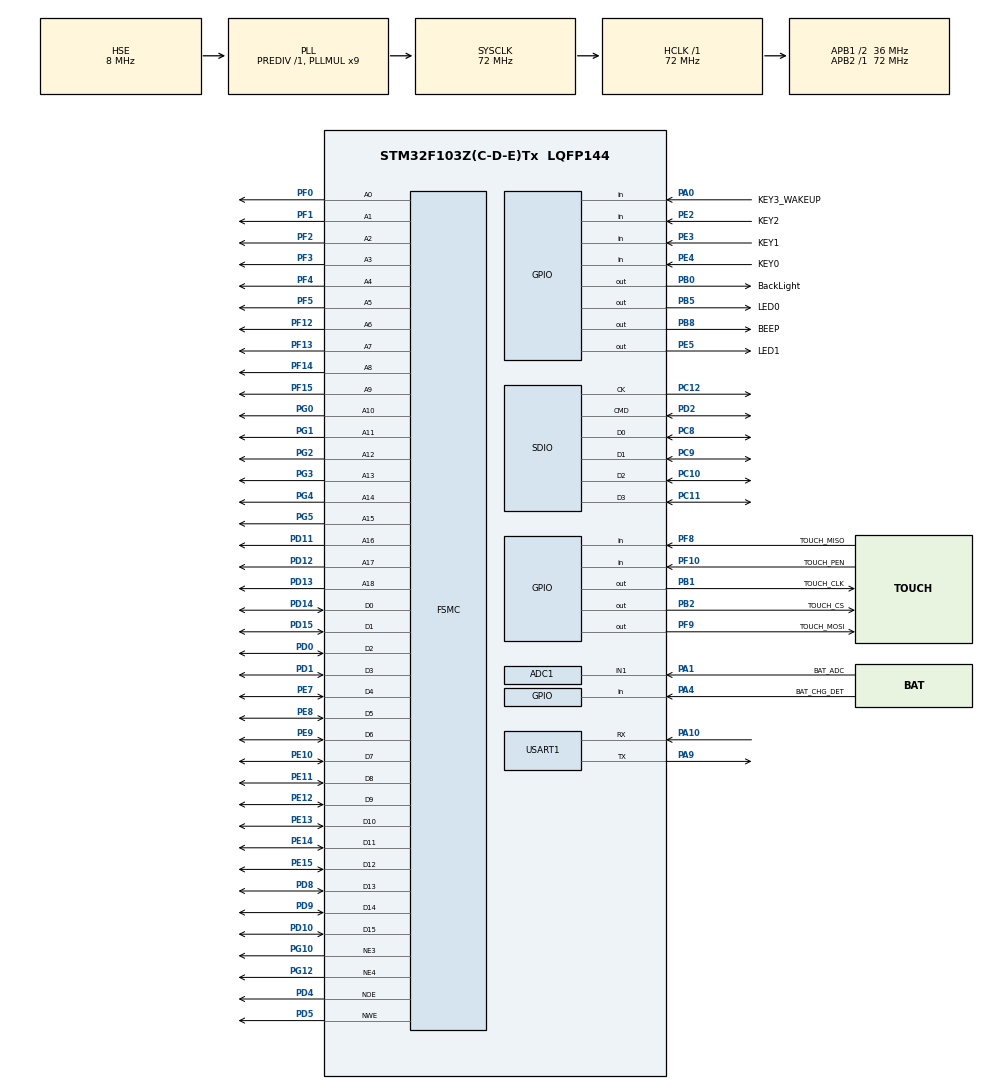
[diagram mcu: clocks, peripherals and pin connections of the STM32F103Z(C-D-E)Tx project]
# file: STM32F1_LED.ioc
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ADC1.Channel-0\#ChannelRegularConversion=ADC_CHANNEL_1
ADC1.ContinuousConvMode=DISABLE
ADC1.NbrOfConversion=1
ADC1.NbrOfConversionFlag=1
ADC1.Rank-0\#ChannelRegularConversion=1
ADC1.SamplingTime-0\#ChannelRegularConversion=ADC_SAMPLETIME_1CYCLE_5
ADC1.master=1
FATFS._CODE_PAGE=1252
FATFS._FS_LOCK=0
FATFS._FS_NORTC=0
FATFS._LFN_UNICODE=0
FATFS._NORTC_MDAY=23
FATFS._NORTC_MON=4
FATFS._NORTC_YEAR=2023
FATFS._USE_FASTSEEK=1
FATFS._USE_LABEL=0
FATFS._USE_LFN=3
FATFS._USE_STRFUNC=2
FSMC.AddressSetupTime1=1
FSMC.AddressSetupTime2=0
FSMC.BusTurnAroundDuration1=0
FSMC.BusTurnAroundDuration2=0
FSMC.DataSetupTime1=15
FSMC.DataSetupTime2=3
FSMC.ExtendedAddressSetupTime1=0
FSMC.ExtendedBusTurnAroundDuration1=0
FSMC.ExtendedDataSetupTime1=4
FSMC.ExtendedMode1=FSMC_EXTENDED_MODE_ENABLE
FSMC.ExtendedMode2=FSMC_EXTENDED_MODE_DISABLE
FSMC.WriteOperation2=FSMC_WRITE_OPERATION_ENABLE
Mcu.Family=STM32F1
Mcu.Name=STM32F103Z(C-D-E)Tx
Mcu.Package=LQFP144
NVIC.PriorityGroup=NVIC_PRIORITYGROUP_4
NVIC.TIM3_IRQn=true\:12\:0\:true\:false\:true\:true\:true\:true
NVIC.TIM4_IRQn=true\:14\:0\:true\:false\:true\:true\:true\:true
OSC_IN.Mode=HSE-External-Oscillator
OSC_IN.Signal=RCC_OSC_IN
OSC_OUT.Mode=HSE-External-Oscillator
OSC_OUT.Signal=RCC_OSC_OUT
PA0-WKUP.GPIO_Label=KEY3_WAKEUP
PA0-WKUP.GPIO_PuPd=GPIO_PULLDOWN
PA0-WKUP.Signal=GPIO_Input
PA1.GPIO_Label=BAT_ADC
PA1.Signal=ADCx_IN1
PA10.Mode=Asynchronous
PA10.Signal=USART1_RX
PA13.Mode=Serial_Wire
PA13.Signal=SYS_JTMS-SWDIO
PA14.Mode=Serial_Wire
PA14.Signal=SYS_JTCK-SWCLK
PA4.GPIO_Label=BAT_CHG_DET
PA4.GPIO_PuPd=GPIO_PULLUP
PA4.Signal=GPIO_Input
PA9.Mode=Asynchronous
PA9.Signal=USART1_TX
PB0.GPIO_Label=BackLight
PB0.Signal=GPIO_Output
PB1.GPIO_Label=TOUCH_CLK
PB1.GPIO_Speed=GPIO_SPEED_FREQ_HIGH
PB1.Signal=GPIO_Output
PB2.GPIO_Label=TOUCH_CS
PB2.GPIO_Speed=GPIO_SPEED_FREQ_HIGH
PB2.PinState=GPIO_PIN_SET
PB2.Signal=GPIO_Output
PB5.GPIO_Label=LED0
PB5.PinState=GPIO_PIN_SET
PB5.Signal=GPIO_Output
PB8.GPIO_Label=BEEP
PB8.Signal=GPIO_Output
PC10.Mode=SD_4_bits_Wide_bus
PC10.Signal=SDIO_D2
PC11.Mode=SD_4_bits_Wide_bus
PC11.Signal=SDIO_D3
PC12.Mode=SD_4_bits_Wide_bus
PC12.Signal=SDIO_CK
PC14-OSC32_IN.Mode=LSE-External-Oscillator
PC14-OSC32_IN.Signal=RCC_OSC32_IN
PC15-OSC32_OUT.Mode=LSE-External-Oscillator
PC15-OSC32_OUT.Signal=RCC_OSC32_OUT
PC8.Mode=SD_4_bits_Wide_bus
PC8.Signal=SDIO_D0
PC9.Mode=SD_4_bits_Wide_bus
PC9.Signal=SDIO_D1
PD0.Signal=FSMC_D2_DA2
PD1.Signal=FSMC_D3_DA3
PD10.Signal=FSMC_D15_DA15
PD11.Signal=FSMC_A16_CLE
PD12.Signal=FSMC_A17_ALE
PD13.Signal=FSMC_A18
PD14.Signal=FSMC_D0_DA0
PD15.Signal=FSMC_D1_DA1
PD2.Mode=SD_4_bits_Wide_bus
PD2.Signal=SDIO_CMD
PD4.Signal=FSMC_NOE
PD5.Signal=FSMC_NWE
PD8.Signal=FSMC_D13_DA13
PD9.Signal=FSMC_D14_DA14
PE0.Signal=FSMC_NBL0
PE1.Signal=FSMC_NBL1
PE10.Signal=FSMC_D7_DA7
PE11.Signal=FSMC_D8_DA8
PE12.Signal=FSMC_D9_DA9
PE13.Signal=FSMC_D10_DA10
PE14.Signal=FSMC_D11_DA11
PE15.Signal=FSMC_D12_DA12
PE2.GPIO_Label=KEY2
PE2.GPIO_PuPd=GPIO_PULLUP
PE2.Signal=GPIO_Input
PE3.GPIO_Label=KEY1
PE3.GPIO_PuPd=GPIO_PULLUP
PE3.Signal=GPIO_Input
PE4.GPIO_Label=KEY0
PE4.GPIO_PuPd=GPIO_PULLUP
PE4.Signal=GPIO_Input
PE5.GPIO_Label=LED1
PE5.PinState=GPIO_PIN_SET
PE5.Signal=GPIO_Output
PE7.Signal=FSMC_D4_DA4
PE8.Signal=FSMC_D5_DA5
PE9.Signal=FSMC_D6_DA6
PF0.Signal=FSMC_A0
PF1.Signal=FSMC_A1
PF10.GPIO_Label=TOUCH_PEN
PF10.GPIO_PuPd=GPIO_PULLUP
PF10.Signal=GPIO_Input
PF12.Signal=FSMC_A6
PF13.Signal=FSMC_A7
PF14.Signal=FSMC_A8
PF15.Signal=FSMC_A9
PF2.Signal=FSMC_A2
PF3.Signal=FSMC_A3
PF4.Signal=FSMC_A4
PF5.Signal=FSMC_A5
PF8.GPIO_Label=TOUCH_MISO
PF8.GPIO_PuPd=GPIO_PULLUP
PF8.Signal=GPIO_Input
PF9.GPIO_Label=TOUCH_MOSI
PF9.GPIO_Speed=GPIO_SPEED_FREQ_HIGH
PF9.Signal=GPIO_Output
PG0.Signal=FSMC_A10
PG1.Signal=FSMC_A11
PG10.Mode=NorPsramChipSelect3_2
PG10.Signal=FSMC_NE3
PG12.Mode=NorPsramChipSelect4_1
PG12.Signal=FSMC_NE4
PG2.Signal=FSMC_A12
PG3.Signal=FSMC_A13
PG4.Signal=FSMC_A14
PG5.Signal=FSMC_A15
ProjectManager.HeapSize=0x400
ProjectManager.StackSize=0x1000
ProjectManager.TargetToolchain=SW4STM32
RCC.AHBFreq_Value=72000000
RCC.APB1CLKDivider=RCC_HCLK_DIV2
RCC.APB1Freq_Value=36000000
RCC.APB1TimFreq_Value=72000000
RCC.APB2Freq_Value=72000000
RCC.APB2TimFreq_Value=72000000
RCC.HCLKFreq_Value=72000000
RCC.PLLMUL=RCC_PLL_MUL9
RCC.PLLSourceVirtual=RCC_PLLSOURCE_HSE
RCC.RTCClockSelection=RCC_RTCCLKSOURCE_LSE
RCC.SYSCLKFreq_VALUE=72000000
RCC.SYSCLKSource=RCC_SYSCLKSOURCE_PLLCLK
RCC.USBFreq_Value=72000000
RTC.AutoPrediv=RTC_AUTO_1_SECOND
RTC.Date=25
RTC.Format=RTC_FORMAT_BIN
RTC.Hours=8
RTC.Month=RTC_MONTH_APRIL
RTC.WeekDay=RTC_WEEKDAY_TUESDAY
RTC.Year=23
SDIO.ClockDiv=6
SH.ADCx_IN1.0=ADC1_IN1,IN1
SH.FSMC_A0.0=FSMC_A0,19b-a2
SH.FSMC_A1.0=FSMC_A1,19b-a2
SH.FSMC_A10.0=FSMC_A10,A10_1
SH.FSMC_A10.1=FSMC_A10,19b-a2
SH.FSMC_A11.0=FSMC_A11,19b-a2
SH.FSMC_A12.0=FSMC_A12,19b-a2
SH.FSMC_A13.0=FSMC_A13,19b-a2
SH.FSMC_A14.0=FSMC_A14,19b-a2
SH.FSMC_A15.0=FSMC_A15,19b-a2
SH.FSMC_A16_CLE.0=FSMC_A16,19b-a2
SH.FSMC_A17_ALE.0=FSMC_A17,19b-a2
SH.FSMC_A18.0=FSMC_A18,19b-a2
SH.FSMC_A2.0=FSMC_A2,19b-a2
SH.FSMC_A3.0=FSMC_A3,19b-a2
SH.FSMC_A4.0=FSMC_A4,19b-a2
SH.FSMC_A5.0=FSMC_A5,19b-a2
SH.FSMC_A6.0=FSMC_A6,19b-a2
SH.FSMC_A7.0=FSMC_A7,19b-a2
SH.FSMC_A8.0=FSMC_A8,19b-a2
SH.FSMC_A9.0=FSMC_A9,19b-a2
SH.FSMC_D0_DA0.0=FSMC_D0,16b-d1
SH.FSMC_D0_DA0.1=FSMC_D0,16b-d2
SH.FSMC_D10_DA10.0=FSMC_D10,16b-d1
SH.FSMC_D10_DA10.1=FSMC_D10,16b-d2
SH.FSMC_D11_DA11.0=FSMC_D11,16b-d1
SH.FSMC_D11_DA11.1=FSMC_D11,16b-d2
SH.FSMC_D12_DA12.0=FSMC_D12,16b-d1
SH.FSMC_D12_DA12.1=FSMC_D12,16b-d2
SH.FSMC_D13_DA13.0=FSMC_D13,16b-d1
SH.FSMC_D13_DA13.1=FSMC_D13,16b-d2
SH.FSMC_D14_DA14.0=FSMC_D14,16b-d1
SH.FSMC_D14_DA14.1=FSMC_D14,16b-d2
SH.FSMC_D15_DA15.0=FSMC_D15,16b-d1
SH.FSMC_D15_DA15.1=FSMC_D15,16b-d2
SH.FSMC_D1_DA1.0=FSMC_D1,16b-d1
SH.FSMC_D1_DA1.1=FSMC_D1,16b-d2
SH.FSMC_D2_DA2.0=FSMC_D2,16b-d1
SH.FSMC_D2_DA2.1=FSMC_D2,16b-d2
SH.FSMC_D3_DA3.0=FSMC_D3,16b-d1
SH.FSMC_D3_DA3.1=FSMC_D3,16b-d2
SH.FSMC_D4_DA4.0=FSMC_D4,16b-d1
SH.FSMC_D4_DA4.1=FSMC_D4,16b-d2
SH.FSMC_D5_DA5.0=FSMC_D5,16b-d1
SH.FSMC_D5_DA5.1=FSMC_D5,16b-d2
SH.FSMC_D6_DA6.0=FSMC_D6,16b-d1
SH.FSMC_D6_DA6.1=FSMC_D6,16b-d2
SH.FSMC_D7_DA7.0=FSMC_D7,16b-d1
SH.FSMC_D7_DA7.1=FSMC_D7,16b-d2
SH.FSMC_D8_DA8.0=FSMC_D8,16b-d1
SH.FSMC_D8_DA8.1=FSMC_D8,16b-d2
SH.FSMC_D9_DA9.0=FSMC_D9,16b-d1
SH.FSMC_D9_DA9.1=FSMC_D9,16b-d2
SH.FSMC_NBL0.0=FSMC_NBL0
SH.FSMC_NBL1.0=FSMC_NBL1
SH.FSMC_NOE.0=FSMC_NOE,Lcd1
SH.FSMC_NOE.1=FSMC_NOE,Sram2
SH.FSMC_NWE.0=FSMC_NWE,Lcd1
SH.FSMC_NWE.1=FSMC_NWE,Sram2
TIM2.AutoReloadPreload=TIM_AUTORELOAD_PRELOAD_DISABLE
TIM2.Period=0
TIM2.Prescaler=71
TIM3.AutoReloadPreload=TIM_AUTORELOAD_PRELOAD_ENABLE
TIM3.Period=999
TIM3.Prescaler=71
TIM4.AutoReloadPreload=TIM_AUTORELOAD_PRELOAD_DISABLE
TIM4.Period=0
TIM4.Prescaler=71
USART1.VirtualMode=VM_ASYNC
VP_FATFS_VS_SDIO.Mode=SDIO
VP_RTC_No_RTC_Output.Mode=RTC_OUT_NO
VP_RTC_VS_RTC_Activate.Mode=RTC_Enabled
VP_RTC_VS_RTC_Calendar.Mode=RTC_Calendar
VP_TIM2_VS_ClockSourceINT.Mode=Internal
VP_TIM3_VS_ClockSourceINT.Mode=Internal
VP_TIM4_VS_ClockSourceINT.Mode=Internal
board=custom

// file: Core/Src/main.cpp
/* USER CODE BEGIN Header */
/**
  ******************************************************************************
  * @file           : main.c
  * @brief          : Main program body
  ******************************************************************************
  * @attention
  *
  * Copyright (c) 2023 STMicroelectronics.
  * All rights reserved.
  *
  * This software is licensed under terms that can be found in the LICENSE file
  * in the root directory of this software component.
  * If no LICENSE file comes with this software, it is provided AS-IS.
  *
  ******************************************************************************
  */
/* USER CODE END Header */
#include "main.h"
#include "adc.h"
#include "fatfs.h"
#include "rtc.h"
#include "sdio.h"
#include "tim.h"
#include "usart.h"
#include "gpio.h"
#include "fsmc.h"

/* USER CODE BEGIN Includes */
#include "../../LVGL/lvgl.h"
#include "../../LVGL_PORT/Inc/lv_port_disp.h"
#include "../../LVGL_PORT/Inc/lv_port_indev.h"
#include "../../LVGL_PORT/Inc/lv_port_fs_fatfs.h"
#include "../../LVGL_USER/lvgl_user.h"

#include "../BEEP/Audio.h"
#include "../BEEP/Buzz.h"

#include "../../APP/Inc/App.h"
#include "gps.h"
#include "imu.h"
#include "mag.h"
#include "power.h"
#include "sdcard.h"

#include <stdio.h>
/* USER CODE END Includes */

void SystemClock_Config(void);

/* USER CODE BEGIN 0 */

#define PUTCHAR_PROTOTYPE int __io_putchar(int ch)
#define GETCHAR_PROTOTYPE int __io_getchar(void)

#ifdef __cplusplus
extern "C" {
#endif
PUTCHAR_PROTOTYPE {
    HAL_UART_Transmit(&huart1, (uint8_t *) &ch, 1, HAL_MAX_DELAY);//huart1�??????????????????要根据你的配置修�??????????????????
    return ch;
}
GETCHAR_PROTOTYPE {
    uint8_t ch = 0;
    HAL_UART_Receive(&huart1, &ch, 1, HAL_MAX_DELAY);
    return ch;
}
#ifdef __cplusplus
}
#endif
/* USER CODE END 0 */

int main(void)
{

  /* MCU Configuration--------------------------------------------------------*/

  /* Reset of all peripherals, Initializes the Flash interface and the Systick. */
  HAL_Init();

  /* Configure the system clock */
  SystemClock_Config();

  /* Initialize all configured peripherals */
  MX_GPIO_Init();
  MX_FSMC_Init();
  MX_TIM2_Init();
  MX_TIM3_Init();
  MX_USART1_UART_Init();
  MX_SDIO_SD_Init();
  MX_FATFS_Init();
  MX_RTC_Init();
  MX_TIM4_Init();
  MX_ADC1_Init();
  /* USER CODE BEGIN 2 */
    CopyFlashDataToExtSRAM();
    Power_Init();
    HAL_TIM_Base_Start_IT(&htim3);

    lv_init();
    lv_port_disp_init();
    lv_port_indev_init();
    lv_port_fs_init();

    IMU_Init();
    MAG_Init();
    GPS_Init();

    SD_Init();
    Buzz_init();
    Audio_Init();
    Audio_PlayMusic("Startup");

    App_Init();

    Power_SetEventCallback(App_Uninit);

  /* USER CODE END 2 */

  /* Infinite loop */
    while (1) {

    /* USER CODE BEGIN 3 */
        lv_timer_handler();
        HAL_Delay(5);

    }
  /* USER CODE END 3 */
}

void SystemClock_Config(void)
{
  RCC_OscInitTypeDef RCC_OscInitStruct = {0};
  RCC_ClkInitTypeDef RCC_ClkInitStruct = {0};
  RCC_PeriphCLKInitTypeDef PeriphClkInit = {0};

  /** Initializes the RCC Oscillators according to the specified parameters
  * in the RCC_OscInitTypeDef structure.
  */
  RCC_OscInitStruct.OscillatorType = RCC_OSCILLATORTYPE_HSE|RCC_OSCILLATORTYPE_LSE;
  RCC_OscInitStruct.HSEState = RCC_HSE_ON;
  RCC_OscInitStruct.HSEPredivValue = RCC_HSE_PREDIV_DIV1;
  RCC_OscInitStruct.LSEState = RCC_LSE_ON;
  RCC_OscInitStruct.HSIState = RCC_HSI_ON;
  RCC_OscInitStruct.PLL.PLLState = RCC_PLL_ON;
  RCC_OscInitStruct.PLL.PLLSource = RCC_PLLSOURCE_HSE;
  RCC_OscInitStruct.PLL.PLLMUL = RCC_PLL_MUL9;
  if (HAL_RCC_OscConfig(&RCC_OscInitStruct) != HAL_OK)
  {
    Error_Handler();
  }

  /** Initializes the CPU, AHB and APB buses clocks
  */
  RCC_ClkInitStruct.ClockType = RCC_CLOCKTYPE_HCLK|RCC_CLOCKTYPE_SYSCLK
                              |RCC_CLOCKTYPE_PCLK1|RCC_CLOCKTYPE_PCLK2;
  RCC_ClkInitStruct.SYSCLKSource = RCC_SYSCLKSOURCE_PLLCLK;
  RCC_ClkInitStruct.AHBCLKDivider = RCC_SYSCLK_DIV1;
  RCC_ClkInitStruct.APB1CLKDivider = RCC_HCLK_DIV2;
  RCC_ClkInitStruct.APB2CLKDivider = RCC_HCLK_DIV1;

  if (HAL_RCC_ClockConfig(&RCC_ClkInitStruct, FLASH_LATENCY_2) != HAL_OK)
  {
    Error_Handler();
  }
  PeriphClkInit.PeriphClockSelection = RCC_PERIPHCLK_RTC|RCC_PERIPHCLK_ADC;
  PeriphClkInit.RTCClockSelection = RCC_RTCCLKSOURCE_LSE;
  PeriphClkInit.AdcClockSelection = RCC_ADCPCLK2_DIV2;
  if (HAL_RCCEx_PeriphCLKConfig(&PeriphClkInit) != HAL_OK)
  {
    Error_Handler();
  }
}

void Error_Handler(void)
{
    __disable_irq();
    while (1) {
    }
}
